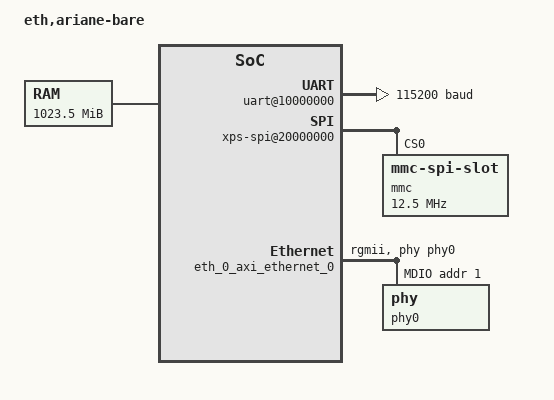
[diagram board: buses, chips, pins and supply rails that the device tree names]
/dts-v1/;

/ {
  #address-cells = <2>;
  #size-cells = <2>;
  compatible = "eth,ariane-bare-dev";
  model = "eth,ariane-bare";
  chosen {
    bootargs = "console=ttyS0,115200 earlycon=sbi";
    stdout-path = "/soc/uart@10000000:115200";
    //tick-timer =  "/cpus/cpu@0";
  };
  cpus {
    #address-cells = <1>;
    #size-cells = <0>;
    timebase-frequency = <25000000>; // 25 MHz
    CPU0: cpu@0 {
      clock-frequency = <50000000>; // 50 MHz
      device_type = "cpu";
      reg = <0>;
      status = "okay";
      compatible = "eth, ariane", "riscv";
      riscv,isa = "rv64imafdc";
      mmu-type = "riscv,sv39";
      tlb-split;
      // HLIC - hart local interrupt controller
      CPU0_intc: interrupt-controller {
        #interrupt-cells = <1>;
        interrupt-controller;
        compatible = "riscv,cpu-intc";
      };
    };
  };

  clocks {
		#address-cells = <0x01>;
		#size-cells = <0x00>;

		clk_cpu {
			#clock-cells = <0x00>;
			clock-frequency = <0x2faf080>;
			compatible = "fixed-clock";
		};

		clk_bus_0 {
			#clock-cells = <0x00>;
			clock-frequency = <0x2faf080>;
			compatible = "fixed-clock";
			phandle = <0x01>;
		};
	};
  
  memory@80000000 {
    device_type = "memory";
    reg = <0x0 0x80000000 0x0 0x3FF80000>;
  };
 
  L26: soc {
    #address-cells = <2>;
    #size-cells = <2>;
    compatible = "eth,ariane-bare-soc", "simple-bus";
    ranges;
  
    clint@2000000 {
      compatible = "riscv,clint0";
      interrupts-extended = <&CPU0_intc 3 &CPU0_intc 7>;
      reg = <0x0 0x2000000 0x0 0xc0000>;
      reg-names = "control";
    };
    
    PLIC0: interrupt-controller@c000000 {
      #interrupt-cells = <1>;
      compatible = "riscv,plic0";
      interrupt-controller;
      interrupts-extended = <&CPU0_intc 11 &CPU0_intc 9>;
      reg = <0x0 0xc000000 0x0 0x4000000>;
      riscv,max-priority = <7>;
      riscv,ndev = <30>;
    };

    

    
    uart@10000000 {
      compatible = "ns16750", "ns16550";
      reg = <0x0 0x10000000 0x0 0x10000>;
      device_type = "serial";
      clock-frequency = <50000000>;
      current-speed = <115200>;
      interrupt-parent = <&PLIC0>;
      interrupts = <11 4>;
      reg-shift = <2>; // regs are spaced on 32 bit boundary
      reg-io-width = <4>; // only 32-bit access are supported
      fifo-size = <16>;
    };
    timer@18000000 {
      compatible = "pulp,apb_timer";
      interrupts = <0x00000004 0x00000005 0x00000006 0x00000007>;
      reg = <0x0 0x18000000 0x0 0x00001000>;
      pulp,clock-period-ns = <20>;
      interrupt-parent = <&PLIC0>;
      reg-names = "control";
    };
    xps-spi@20000000 {
      compatible = "xlnx,axi-quad-spi-3.2", "xlnx,xps-spi-2.00.a";
      interrupt-parent = <&PLIC0>;
      interrupts = <10 4>;
      reg = <0x0 0x20000000 0x0 0x10000>;
      fifo-size = <256>;
      xlnx,family = "kintex7";
      xlnx,fifo-exist = <0x1>;
      xlnx,num-ss-bits = <0x1>;
      xlnx,num-transfer-bits = <0x8>;
      xlnx,sck-ratio = <0x4>;

      mmc@0 {
        #address-cells = <1>;
				#size-cells = <0>;
        compatible = "mmc-spi-slot";
        reg = <0>;
        spi-max-frequency = <12500000>;
        voltage-ranges = <3300 3300>;
        disable-wp;
      };
    };
    
    eth_0_axi_dma_0: dma@41e00000 {
			#dma-cells = <1>;
			axistream-connected = <&eth_0_axi_ethernet_0>;
			axistream-control-connected = <&eth_0_axi_ethernet_0>;
			clock-frequency = <50000000>;
			clock-names = "s_axi_lite_aclk";
			clocks = <&{/clocks/clk_bus_0}>;
			compatible = "xlnx,eth-dma";
			reg = <0x0 0x41e00000 0x0 0x10000>;
			xlnx,addrwidth = <0x40>;
			xlnx,include-dre ;
			xlnx,num-queues = <0x1>;

      interrupt-parent = <&PLIC0>;
      // TX - RX
      interrupts = <8 9>;
		};

		eth_0_axi_ethernet_0: ethernet@40c00000 {
			axistream-connected = <&eth_0_axi_dma_0>;
			axistream-control-connected = <&eth_0_axi_dma_0>;
			clock-frequency = <100000000>;
			compatible = "xlnx,axi-ethernet-7.2", "xlnx,axi-ethernet-1.00.a";
			device_type = "network";
			local-mac-address = [00 0a 35 00 00 00];
			phy-mode = "rgmii";
			reg = <0x0 0x40c00000 0x0 0x40000>;
			xlnx = <0x0>;
			xlnx,axiliteclkrate = <0x0>;
			xlnx,axisclkrate = <0x0>;
			xlnx,channel-ids = "1";
			xlnx,clockselection = <0x0>;
			xlnx,enableasyncsgmii = <0x0>;
			xlnx,gt-type = <0x0>;
			xlnx,gtinex = <0x0>;
			xlnx,gtlocation = <0x0>;
			xlnx,gtrefclksrc = <0x0>;
			xlnx,include-dre;
			xlnx,instantiatebitslice0 = <0x0>;
			xlnx,num-queues =  <0x1>;
			xlnx,phyaddr = <0x1>;
			xlnx,phyrst-board-interface-dummy-port = <0x0>;
			xlnx,rable = <0x0>;
			xlnx,rxcsum = <0x2>;
			xlnx,rxlane0-placement = <0x0>;
			xlnx,rxlane1-placement = <0x0>;
			xlnx,rxmem = <0x1000>;
			xlnx,rxnibblebitslice0used = <0x0>;
			xlnx,tx-in-upper-nibble = <0x1>;
			xlnx,txcsum = <0x2>;
			xlnx,txlane0-placement = <0x0>;
			xlnx,txlane1-placement = <0x0>;
			xlnx,versal-gt-board-flow = <0x0>;

      phy-handle=<&phy0>;

      interrupt-parent = <&PLIC0>;
      interrupts = <13>;

			eth_0_axi_ethernet_0_mdio: mdio {
				#address-cells = <1>;
				#size-cells = <0>;
        phy0: phy@1 {
          #address-cells = <1>;
          #size-cells = <0>;
          device-type="ethernet-phy";
          reg = <1>;
        };
			};



		};

    rom: axi_bram_ctrl@00010000 {
            compatible = "xlnx,axi-bram-ctrl-4.1";
            reg = <0x0 0x00010000 0x0 0x10000>;
            xlnx,bram-addr-width = <0x0a>;
            xlnx,bram-inst-mode = "EXTERNAL";
            xlnx,ecc = <0x00>;
            xlnx,ecc-onoff-reset-value = <0x00>;
            xlnx,ecc-type = <0x00>;
            xlnx,fault-inject = <0x00>;
            xlnx,memory-depth = <0x400>;
            xlnx,rd-cmd-optimization = <0x00>;
            xlnx,read-latency = <0x01>;
            xlnx,s-axi-ctrl-addr-width = <0x20>;
            xlnx,s-axi-ctrl-data-width = <0x20>;
            xlnx,s-axi-id-width = <0x0e>;
            xlnx,s-axi-supports-narrow-burst = <0x01>;
            xlnx,single-port-bram = <0x01>;
            status="disabled";
        };

    iic: i2c@40800000 {
            clock-frequency = <0x2faf080>;
            compatible = "xlnx,axi-iic-2.1","xlnx,xps-iic-2.00.a";
            reg = <0x0 0x40800000 0x0 0x10000>;
            interrupts=<>;
            interrupt-parent=<&PLIC0>;
            clocks=<&{/clocks/clk_bus_0}>;

            status="disabled";
        };

      gpio: PmodGPIO@44000000 {
            compatible = "xlnx,PmodGPIO-1.0";
            reg = <0x0 0x44000000 0x0 0x1000>;

            status="disabled";
      };
  };
};
